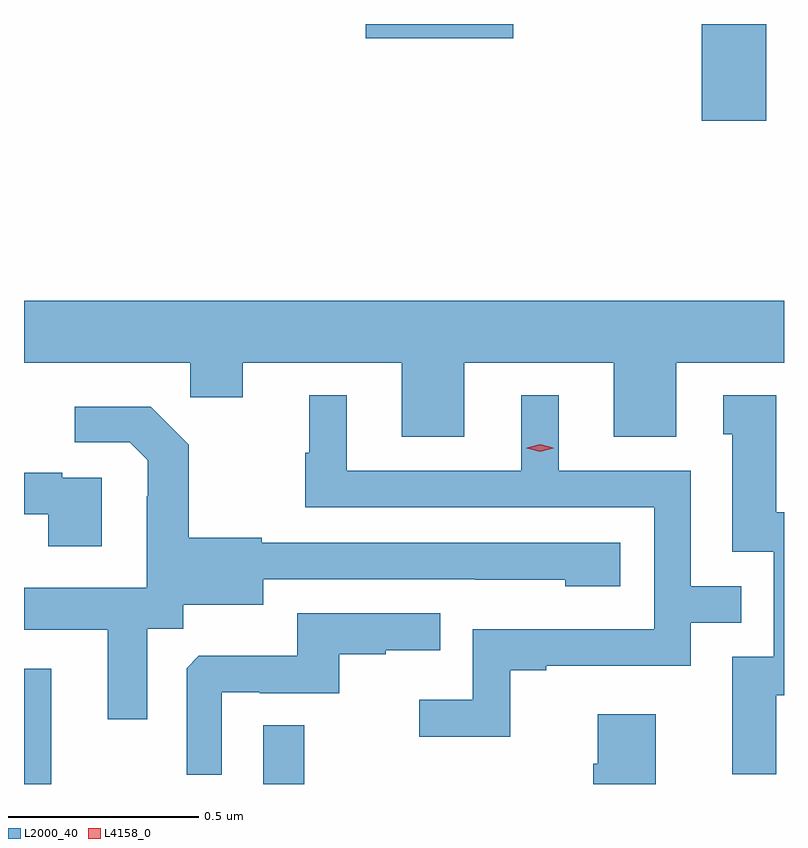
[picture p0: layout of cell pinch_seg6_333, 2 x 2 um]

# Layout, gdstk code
import gdstk
lib = gdstk.Library(unit=1e-6, precision=1e-09)
def R(c, l, rs):  # rectangles x0, y0, x1, y1
    for r in rs: c.add(gdstk.rectangle(r[:2], r[2:], *l))
def P(c, l, *ps):  # polygons
    for p in ps: c.add(gdstk.Polygon(p, *l))
L2000_40 = (2000, 40)
L4158_0 = (4158, 0)

pinch_seg6_333 = lib.new_cell('pinch_seg6_333')
R(pinch_seg6_333, L2000_40, [(755.623,995.512,755.695,995.815), (756.252,995.512,756.361,995.666), (757.406,997.257,757.576,997.512), (756.522,997.475,756.91,997.512)])
P(pinch_seg6_333, L2000_40, [(755.623,996.62),(756.061,996.62),(756.061,996.53),(756.199,996.53),(756.199,996.62),(756.617,996.62),(756.617,996.426),(756.781,996.426),(756.781,996.62),(757.175,996.62),(757.175,996.426),(757.339,996.426),(757.339,996.62),(757.623,996.62),(757.623,996.784),(755.623,996.784)],
  [(757.603,995.746),(757.623,995.746),(757.623,996.227),(757.603,996.227),(757.603,996.535),(757.463,996.535),(757.463,996.432),(757.487,996.432),(757.487,996.123),(757.596,996.123),(757.596,995.847),(757.487,995.847),(757.487,995.538),(757.603,995.538)],
  [(756.903,995.811),(756.997,995.811),(756.997,995.823),(757.377,995.823),(757.377,995.937),(757.511,995.937),(757.511,996.033),(757.377,996.033),(757.377,996.336),(757.03,996.336),(757.03,996.535),(756.932,996.535),(756.932,996.336),(756.472,996.336),(756.472,996.535),(756.374,996.535),(756.374,996.384),(756.363,996.384),(756.363,996.24),(757.281,996.24),(757.281,995.919),(756.804,995.919),(756.804,995.734),(756.663,995.734),(756.663,995.636),(756.903,995.636)],
  [(755.947,995.92),(756.042,995.92),(756.042,995.984),(756.253,995.984),(756.253,996.051),(756.811,996.051),(756.811,996.05),(757.047,996.05),(757.047,996.032),(757.192,996.032),(757.192,996.147),(756.249,996.147),(756.249,996.16),(756.057,996.16),(756.057,996.405),(755.957,996.505),(755.757,996.505),(755.757,996.411),(755.901,996.411),(755.948,996.364),(755.948,996.269),(755.946,996.269),(755.946,996.028),(755.623,996.028),(755.623,995.918),(755.843,995.918),(755.843,995.682),(755.947,995.682)],
  [(755.827,996.318),(755.723,996.318),(755.723,996.331),(755.623,996.331),(755.623,996.222),(755.687,996.222),(755.687,996.138),(755.827,996.138)],
  [(756.144,995.754),(756.244,995.754),(756.244,995.751),(756.452,995.751),(756.452,995.853),(756.575,995.853),(756.575,995.864),(756.719,995.864),(756.719,995.961),(756.342,995.961),(756.342,995.849),(756.083,995.849),(756.051,995.817),(756.051,995.537),(756.144,995.537)],
  [(757.285,995.695),(757.133,995.695),(757.133,995.565),(757.121,995.565),(757.121,995.512),(757.285,995.512)])
P(pinch_seg6_333, L4158_0, [(756.981,996.386),(756.946,996.396),(756.945,996.396),(756.946,996.397),(756.981,996.406),(757.016,996.397),(757.017,996.396),(757.016,996.396)])

lib.write_gds('pinch_seg6_333.gds')
